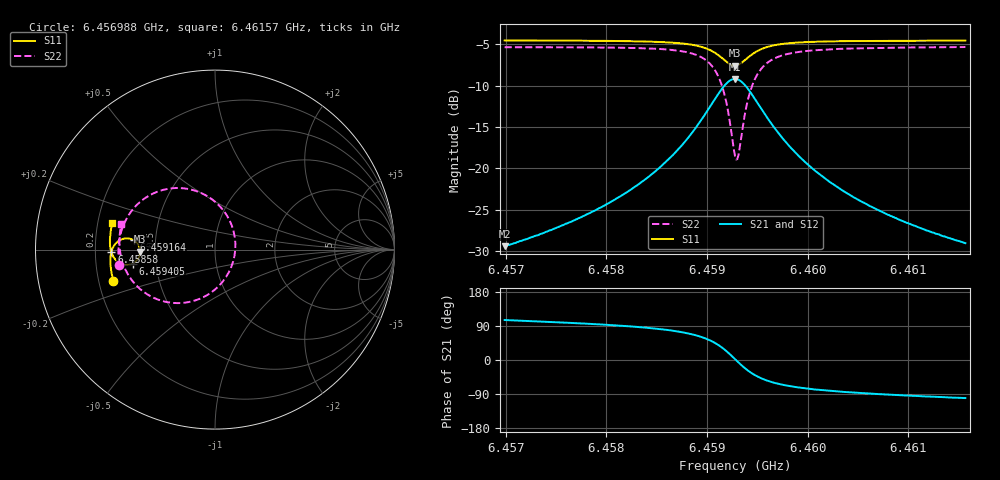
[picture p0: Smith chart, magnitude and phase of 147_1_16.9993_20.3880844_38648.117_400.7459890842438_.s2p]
#  HZ  S  RI  R  50.00
! Rohde & Schwarz Vector Network Analyzer
! Rohde-Schwarz,ZNB20-2Port,1311601062101988,3.16
! Created: UTC 3/20/2024, 10:58:40 PM
! freq[Hz]  re:S11  im:S11  re:S21  im:S21  re:S12  im:S12  re:S22  im:S22
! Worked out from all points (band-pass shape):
!   401 points, 6.456988 GHz to 6.46157 GHz, reference 50 ohm
!   highest |S21| = -9.20 dB at 6.459279 GHz (marker M1); lowest = -29.4 dB at 6.456988 GHz (marker M2)
!   |S21| within 3 dB of the highest: 6.459049 GHz to 6.459508 GHz (458.3 kHz wide, 0.0071 % of centre)
!   lowest |S11| = -7.6 dB at 6.459279 GHz (marker M3), VSWR 2.43, Z = 20.6 - j0.58 ohm
!   |S11| at or under -10 dB: nowhere
!   |S22| runs from -18.9 to -5.3 dB; largest |S21 - S12| = 0.013
!   S11 on the Smith chart (normalised r, x): 6.456988 GHz: 0.26, -0.14; 6.45858 GHz: 0.27, -0.01; 6.459164 GHz: 0.37, +0.05; 6.459405 GHz: 0.37, -0.07; 6.46157 GHz: 0.26, +0.12
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6.4569878e9  -0.5664 -0.1727  -0.00905 0.0326  -0.00724 0.0326  -0.5323 -0.0848
6.4577553e9  -0.5805 -0.1056  -0.00576 0.0505  -0.00307 0.05  -0.5377 0.00529
6.4581677e9  -0.5834 -0.0642  -0.000114 0.0694  0.00325 0.0681  -0.53 0.0705
6.4585228e9  -0.5795 -0.0217  0.0142 0.0992  0.0182 0.0965  -0.5042 0.1504
6.4585801e9  -0.5776 -0.0139  0.0184 0.1061  0.0225 0.103  -0.4959 0.167
6.4587863e9  -0.5647 0.0184  0.046 0.1386  0.0502 0.1337  -0.4445 0.2399
6.4589352e9  -0.542 0.0447  0.0917 0.1694  0.0948 0.1628  -0.3606 0.3044
6.4590727e9  -0.4978 0.0624  0.1792 0.1861  0.1801 0.1786  -0.201 0.343
6.4591643e9  -0.453 0.0519  0.2696 0.1546  0.2697 0.1487  -0.0338 0.2922
6.4592331e9  -0.4238 0.0196  0.3302 0.0824  0.3323 0.0769  0.0817 0.1621
6.4592789e9  -0.4169 -0.0116  0.3464 0.014  0.3501 0.00721  0.1134 0.0347
6.4592903e9  -0.4173 -0.0196  0.3462 -0.00373  0.3502 -0.0112  0.113 0.00122
6.4593133e9  -0.4208 -0.0354  0.3405 -0.0385  0.3445 -0.0476  0.1015 -0.0647
6.4593591e9  -0.4365 -0.0616  0.3118 -0.0986  0.314 -0.1103  0.0434 -0.1776
6.4594049e9  -0.4587 -0.078  0.2697 -0.1395  0.2688 -0.1526  -0.0417 -0.2523
6.4594965e9  -0.5022 -0.0849  0.1846 -0.1706  0.1786 -0.1822  -0.2105 -0.298
6.4596455e9  -0.5463 -0.0644  0.0968 -0.1568  0.0883 -0.163  -0.3779 -0.2488
6.4598058e9  -0.568 -0.0368  0.0518 -0.1289  0.0441 -0.1317  -0.4583 -0.1768
6.4600464e9  -0.5809 -0.00143  0.0224 -0.0974  0.0167 -0.098  -0.5063 -0.0946
6.4603901e9  -0.5856 0.0397  0.00643 -0.0706  0.00239 -0.0702  -0.5281 -0.0155
6.4608139e9  -0.5838 0.0823  -0.0013 -0.0521  -0.0043 -0.0512  -0.5324 0.0527
6.46157e9  -0.5719 0.1493  -0.00638 -0.0347  -0.00812 -0.0337  -0.5212 0.1421
